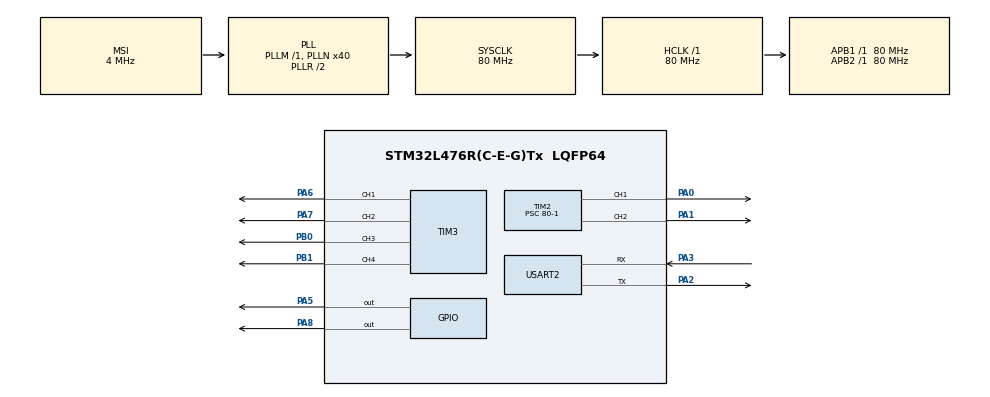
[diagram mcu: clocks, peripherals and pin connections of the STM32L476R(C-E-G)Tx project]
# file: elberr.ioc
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Mcu.Family=STM32L4
Mcu.Name=STM32L476R(C-E-G)Tx
Mcu.Package=LQFP64
NVIC.PriorityGroup=NVIC_PRIORITYGROUP_4
NVIC.USART2_IRQn=true\:0\:0\:false\:false\:true\:true\:true\:true
PA0.Signal=S_TIM2_CH1
PA1.Signal=S_TIM2_CH2
PA13\ (JTMS-SWDIO).Mode=Serial_Wire
PA13\ (JTMS-SWDIO).Signal=SYS_JTMS-SWDIO
PA14\ (JTCK-SWCLK).Mode=Serial_Wire
PA14\ (JTCK-SWCLK).Signal=SYS_JTCK-SWCLK
PA2.Mode=Asynchronous
PA2.Signal=USART2_TX
PA3.Mode=Asynchronous
PA3.Signal=USART2_RX
PA5.Signal=GPIO_Output
PA6.Signal=S_TIM3_CH1
PA7.Signal=S_TIM3_CH2
PA8.Signal=GPIO_Output
PB0.Signal=S_TIM3_CH3
PB1.Signal=S_TIM3_CH4
PH0-OSC_IN\ (PH0).Mode=HSE-External-Oscillator
PH0-OSC_IN\ (PH0).Signal=RCC_OSC_IN
PH1-OSC_OUT\ (PH1).Mode=HSE-External-Oscillator
PH1-OSC_OUT\ (PH1).Signal=RCC_OSC_OUT
ProjectManager.HeapSize=0x200
ProjectManager.StackSize=0x400
ProjectManager.TargetToolchain=STM32CubeIDE
RCC.AHBFreq_Value=80000000
RCC.APB1Freq_Value=80000000
RCC.APB1TimFreq_Value=80000000
RCC.APB2Freq_Value=80000000
RCC.APB2TimFreq_Value=80000000
RCC.CortexFreq_Value=80000000
RCC.HCLKFreq_Value=80000000
RCC.HSE_VALUE=8000000
RCC.HSI_VALUE=16000000
RCC.LSE_VALUE=32768
RCC.MSI_VALUE=4000000
RCC.PLLN=40
RCC.SYSCLKFreq_VALUE=80000000
RCC.SYSCLKSource=RCC_SYSCLKSOURCE_PLLCLK
RCC.VCOOutputFreq_Value=160000000
SH.S_TIM2_CH1.0=TIM2_CH1,PWM Generation1 CH1
SH.S_TIM2_CH2.0=TIM2_CH2,PWM Generation2 CH2
SH.S_TIM3_CH1.0=TIM3_CH1,PWM Generation1 CH1
SH.S_TIM3_CH2.0=TIM3_CH2,PWM Generation2 CH2
SH.S_TIM3_CH3.0=TIM3_CH3,PWM Generation3 CH3
SH.S_TIM3_CH4.0=TIM3_CH4,PWM Generation4 CH4
TIM2.Channel-PWM\ Generation1\ CH1=TIM_CHANNEL_1
TIM2.Channel-PWM\ Generation2\ CH2=TIM_CHANNEL_2
TIM2.Period=20000-1
TIM2.Prescaler=80-1
TIM3.Channel-PWM\ Generation1\ CH1=TIM_CHANNEL_1
TIM3.Channel-PWM\ Generation2\ CH2=TIM_CHANNEL_2
TIM3.Channel-PWM\ Generation3\ CH3=TIM_CHANNEL_3
TIM3.Channel-PWM\ Generation4\ CH4=TIM_CHANNEL_4
USART2.VirtualMode-Asynchronous=VM_ASYNC
VP_TIM2_VS_ClockSourceINT.Mode=Internal
VP_TIM3_VS_ClockSourceINT.Mode=Internal
board=custom

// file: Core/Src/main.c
/* USER CODE BEGIN Header */
/**
  ******************************************************************************
  * @file           : main.c
  * @brief          : Main program body
  ******************************************************************************
  * @attention
  *
  * Copyright (c) 2026 STMicroelectronics.
  * All rights reserved.
  *
  * This software is licensed under terms that can be found in the LICENSE file
  * in the root directory of this software component.
  * If no LICENSE file comes with this software, it is provided AS-IS.
  *
  ******************************************************************************
  */
/* USER CODE END Header */
#include "main.h"

TIM_HandleTypeDef htim2;
TIM_HandleTypeDef htim3;

UART_HandleTypeDef huart2;

/* USER CODE BEGIN PV */
char tx_boot_message[] = "STM32 IS CONNECTED";
char tx_data[] = "STM32 sent you a message!";
char rx_data[1];
/* USER CODE END PV */

void SystemClock_Config(void);
static void MX_GPIO_Init(void);
static void MX_USART2_UART_Init(void);
static void MX_TIM2_Init(void);
static void MX_TIM3_Init(void);

/* USER CODE BEGIN 0 */
	void Set_Servo_Angle(TIM_HandleTypeDef *htim, uint32_t channel, uint8_t angle ){
		//500 to 2500 counts
		uint32_t pulse_length = 500 + (angle *(2500-500)/180);
		__HAL_TIM_SET_COMPARE(htim, channel, pulse_length);
	}

	void Blink(uint8_t InitialAngle){
		Set_Servo_Angle( &htim2, TIM_CHANNEL_1, 100 );
		Set_Servo_Angle( &htim2, TIM_CHANNEL_2, 100 );
		HAL_Delay(200);
		Set_Servo_Angle( &htim2, TIM_CHANNEL_1, InitialAngle );
		Set_Servo_Angle( &htim2, TIM_CHANNEL_2, InitialAngle );
	}

  uint32_t previousBlinkTime = 0;

/* USER CODE END 0 */

int main(void)
{

  /* MCU Configuration--------------------------------------------------------*/

  /* Reset of all peripherals, Initializes the Flash interface and the Systick. */
  HAL_Init();

  /* Configure the system clock */
  SystemClock_Config();

  /* Initialize all configured peripherals */
  MX_GPIO_Init();
  MX_USART2_UART_Init();
  MX_TIM2_Init();
  MX_TIM3_Init();
  /* USER CODE BEGIN 2 */
  HAL_TIM_PWM_Start(&htim2, TIM_CHANNEL_1);
  HAL_TIM_PWM_Start(&htim2, TIM_CHANNEL_2);
  HAL_UART_Transmit(&huart2, (uint8_t*)tx_boot_message, sizeof(tx_boot_message), HAL_MAX_DELAY);
  /* USER CODE END 2 */

  /* Infinite loop */
  while (1)
  {

    /* USER CODE BEGIN 3 */
  uint32_t CurrentTime = HAL_GetTick();

  if (CurrentTime - previousBlinkTime >= 4000){ //LCG value to get {1000,2000,3000,4000,5000,6000}
    Blink(0);
    previousBlinkTime = CurrentTime;
  }

  //READING UART AND TRANSMITTING
  HAL_UART_Receive_IT(&huart2, (uint8_t*)rx_data, sizeof(rx_data));
  HAL_UART_Transmit(&huart2, (uint8_t*)tx_data, sizeof(tx_data), HAL_MAX_DELAY);
  }
  /* USER CODE END 3 */
}

void SystemClock_Config(void)
{
  RCC_OscInitTypeDef RCC_OscInitStruct = {0};
  RCC_ClkInitTypeDef RCC_ClkInitStruct = {0};

  /** Configure the main internal regulator output voltage
  */
  if (HAL_PWREx_ControlVoltageScaling(PWR_REGULATOR_VOLTAGE_SCALE1) != HAL_OK)
  {
    Error_Handler();
  }

  /** Initializes the RCC Oscillators according to the specified parameters
  * in the RCC_OscInitTypeDef structure.
  */
  RCC_OscInitStruct.OscillatorType = RCC_OSCILLATORTYPE_MSI;
  RCC_OscInitStruct.MSIState = RCC_MSI_ON;
  RCC_OscInitStruct.MSICalibrationValue = 0;
  RCC_OscInitStruct.MSIClockRange = RCC_MSIRANGE_6;
  RCC_OscInitStruct.PLL.PLLState = RCC_PLL_ON;
  RCC_OscInitStruct.PLL.PLLSource = RCC_PLLSOURCE_MSI;
  RCC_OscInitStruct.PLL.PLLM = 1;
  RCC_OscInitStruct.PLL.PLLN = 40;
  RCC_OscInitStruct.PLL.PLLP = RCC_PLLP_DIV7;
  RCC_OscInitStruct.PLL.PLLQ = RCC_PLLQ_DIV2;
  RCC_OscInitStruct.PLL.PLLR = RCC_PLLR_DIV2;
  if (HAL_RCC_OscConfig(&RCC_OscInitStruct) != HAL_OK)
  {
    Error_Handler();
  }

  /** Initializes the CPU, AHB and APB buses clocks
  */
  RCC_ClkInitStruct.ClockType = RCC_CLOCKTYPE_HCLK|RCC_CLOCKTYPE_SYSCLK
                              |RCC_CLOCKTYPE_PCLK1|RCC_CLOCKTYPE_PCLK2;
  RCC_ClkInitStruct.SYSCLKSource = RCC_SYSCLKSOURCE_PLLCLK;
  RCC_ClkInitStruct.AHBCLKDivider = RCC_SYSCLK_DIV1;
  RCC_ClkInitStruct.APB1CLKDivider = RCC_HCLK_DIV1;
  RCC_ClkInitStruct.APB2CLKDivider = RCC_HCLK_DIV1;

  if (HAL_RCC_ClockConfig(&RCC_ClkInitStruct, FLASH_LATENCY_4) != HAL_OK)
  {
    Error_Handler();
  }
}

static void MX_TIM2_Init(void)
{

  TIM_ClockConfigTypeDef sClockSourceConfig = {0};
  TIM_MasterConfigTypeDef sMasterConfig = {0};
  TIM_OC_InitTypeDef sConfigOC = {0};

  htim2.Instance = TIM2;
  htim2.Init.Prescaler = 80-1;
  htim2.Init.CounterMode = TIM_COUNTERMODE_UP;
  htim2.Init.Period = 20000-1;
  htim2.Init.ClockDivision = TIM_CLOCKDIVISION_DIV1;
  htim2.Init.AutoReloadPreload = TIM_AUTORELOAD_PRELOAD_DISABLE;
  if (HAL_TIM_Base_Init(&htim2) != HAL_OK)
  {
    Error_Handler();
  }
  sClockSourceConfig.ClockSource = TIM_CLOCKSOURCE_INTERNAL;
  if (HAL_TIM_ConfigClockSource(&htim2, &sClockSourceConfig) != HAL_OK)
  {
    Error_Handler();
  }
  if (HAL_TIM_PWM_Init(&htim2) != HAL_OK)
  {
    Error_Handler();
  }
  sMasterConfig.MasterOutputTrigger = TIM_TRGO_RESET;
  sMasterConfig.MasterSlaveMode = TIM_MASTERSLAVEMODE_DISABLE;
  if (HAL_TIMEx_MasterConfigSynchronization(&htim2, &sMasterConfig) != HAL_OK)
  {
    Error_Handler();
  }
  sConfigOC.OCMode = TIM_OCMODE_PWM1;
  sConfigOC.Pulse = 0;
  sConfigOC.OCPolarity = TIM_OCPOLARITY_HIGH;
  sConfigOC.OCFastMode = TIM_OCFAST_DISABLE;
  if (HAL_TIM_PWM_ConfigChannel(&htim2, &sConfigOC, TIM_CHANNEL_1) != HAL_OK)
  {
    Error_Handler();
  }
  if (HAL_TIM_PWM_ConfigChannel(&htim2, &sConfigOC, TIM_CHANNEL_2) != HAL_OK)
  {
    Error_Handler();
  }
  HAL_TIM_MspPostInit(&htim2);

}

static void MX_TIM3_Init(void)
{

  TIM_ClockConfigTypeDef sClockSourceConfig = {0};
  TIM_MasterConfigTypeDef sMasterConfig = {0};
  TIM_OC_InitTypeDef sConfigOC = {0};

  htim3.Instance = TIM3;
  htim3.Init.Prescaler = 0;
  htim3.Init.CounterMode = TIM_COUNTERMODE_UP;
  htim3.Init.Period = 65535;
  htim3.Init.ClockDivision = TIM_CLOCKDIVISION_DIV1;
  htim3.Init.AutoReloadPreload = TIM_AUTORELOAD_PRELOAD_DISABLE;
  if (HAL_TIM_Base_Init(&htim3) != HAL_OK)
  {
    Error_Handler();
  }
  sClockSourceConfig.ClockSource = TIM_CLOCKSOURCE_INTERNAL;
  if (HAL_TIM_ConfigClockSource(&htim3, &sClockSourceConfig) != HAL_OK)
  {
    Error_Handler();
  }
  if (HAL_TIM_PWM_Init(&htim3) != HAL_OK)
  {
    Error_Handler();
  }
  sMasterConfig.MasterOutputTrigger = TIM_TRGO_RESET;
  sMasterConfig.MasterSlaveMode = TIM_MASTERSLAVEMODE_DISABLE;
  if (HAL_TIMEx_MasterConfigSynchronization(&htim3, &sMasterConfig) != HAL_OK)
  {
    Error_Handler();
  }
  sConfigOC.OCMode = TIM_OCMODE_PWM1;
  sConfigOC.Pulse = 0;
  sConfigOC.OCPolarity = TIM_OCPOLARITY_HIGH;
  sConfigOC.OCFastMode = TIM_OCFAST_DISABLE;
  if (HAL_TIM_PWM_ConfigChannel(&htim3, &sConfigOC, TIM_CHANNEL_1) != HAL_OK)
  {
    Error_Handler();
  }
  if (HAL_TIM_PWM_ConfigChannel(&htim3, &sConfigOC, TIM_CHANNEL_2) != HAL_OK)
  {
    Error_Handler();
  }
  if (HAL_TIM_PWM_ConfigChannel(&htim3, &sConfigOC, TIM_CHANNEL_3) != HAL_OK)
  {
    Error_Handler();
  }
  if (HAL_TIM_PWM_ConfigChannel(&htim3, &sConfigOC, TIM_CHANNEL_4) != HAL_OK)
  {
    Error_Handler();
  }
  HAL_TIM_MspPostInit(&htim3);

}

static void MX_USART2_UART_Init(void)
{

  huart2.Instance = USART2;
  huart2.Init.BaudRate = 115200;
  huart2.Init.WordLength = UART_WORDLENGTH_8B;
  huart2.Init.StopBits = UART_STOPBITS_1;
  huart2.Init.Parity = UART_PARITY_NONE;
  huart2.Init.Mode = UART_MODE_TX_RX;
  huart2.Init.HwFlowCtl = UART_HWCONTROL_NONE;
  huart2.Init.OverSampling = UART_OVERSAMPLING_16;
  huart2.Init.OneBitSampling = UART_ONE_BIT_SAMPLE_DISABLE;
  huart2.AdvancedInit.AdvFeatureInit = UART_ADVFEATURE_NO_INIT;
  if (HAL_UART_Init(&huart2) != HAL_OK)
  {
    Error_Handler();
  }

}

static void MX_GPIO_Init(void)
{
  GPIO_InitTypeDef GPIO_InitStruct = {0};

  /* GPIO Ports Clock Enable */
  __HAL_RCC_GPIOH_CLK_ENABLE();
  __HAL_RCC_GPIOA_CLK_ENABLE();
  __HAL_RCC_GPIOB_CLK_ENABLE();

  /*Configure GPIO pin Output Level */
  HAL_GPIO_WritePin(GPIOA, GPIO_PIN_5|GPIO_PIN_8, GPIO_PIN_RESET);

  /*Configure GPIO pins : PA5 PA8 */
  GPIO_InitStruct.Pin = GPIO_PIN_5|GPIO_PIN_8;
  GPIO_InitStruct.Mode = GPIO_MODE_OUTPUT_PP;
  GPIO_InitStruct.Pull = GPIO_NOPULL;
  GPIO_InitStruct.Speed = GPIO_SPEED_FREQ_LOW;
  HAL_GPIO_Init(GPIOA, &GPIO_InitStruct);

}

/* USER CODE BEGIN 4 */
__weak void HAL_UART_RxCpltCallback(UART_HandleTypeDef *huart)
{
  /* Prevent unused argument(s) compilation warning */
  UNUSED(huart);

  /* NOTE : This function should not be modified, when the callback is needed,
            the HAL_UART_RxCpltCallback can be implemented in the user file.
   */
  HAL_UART_Transmit(&huart2, (uint8_t*)rx_data, sizeof(rx_data), HAL_MAX_DELAY);
}
/* USER CODE END 4 */

void Error_Handler(void)
{
  __disable_irq();
  while (1)
  {
  }
}
